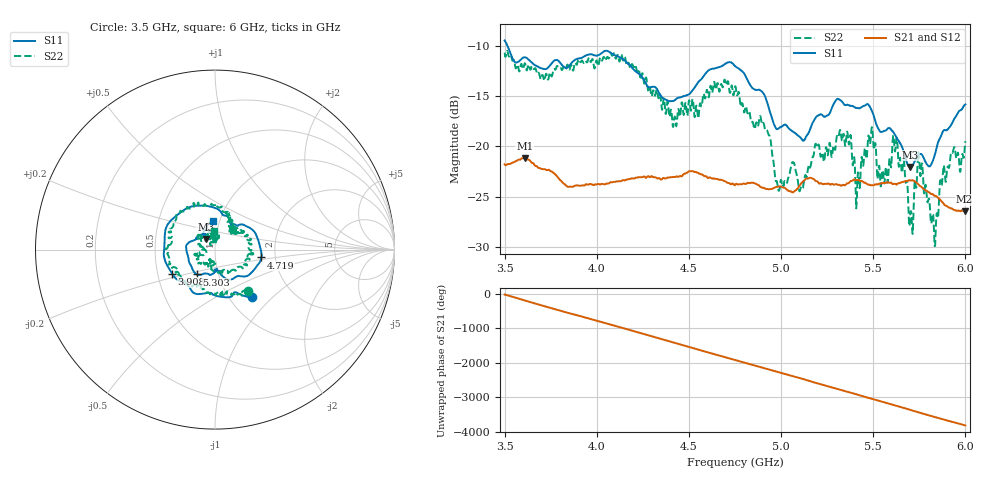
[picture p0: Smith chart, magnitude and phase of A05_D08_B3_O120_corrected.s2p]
! Created with skrf 1.9.0 (http://scikit-rf.org).
# Hz S RI R 50.0
!freq ReS11 ImS11 ReS21 ImS21 ReS12 ImS12 ReS22 ImS22
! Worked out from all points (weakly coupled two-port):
!   1601 points, 3.5 GHz to 6 GHz, reference 50 ohm
!   highest |S21| = -21.15 dB at 3.609 GHz (marker M1); lowest = -26.4 dB at 5.995 GHz (marker M2)
!   lowest |S11| = -22.0 dB at 5.702 GHz (marker M3), VSWR 1.17, Z = 44.7 + j5.37 ohm
!   |S11| at or under -10 dB: 3.515 GHz to end of sweep
!   |S22| runs from -29.9 to -10.5 dB; largest |S21 - S12| = 0.0011
!   S11 on the Smith chart (normalised r, x): 3.5 GHz: 1.27, -0.76; 3.908 GHz: 0.60, -0.17; 4.719 GHz: 1.69, -0.16; 5.303 GHz: 0.79, -0.22; 6 GHz: 0.93, +0.31
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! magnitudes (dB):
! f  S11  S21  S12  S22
! 3.5 GHz  -9.5  -21.8  -21.8  -10.7
! 3.609 GHz  -11.1  -21.2  -21.2  -11.7
! 3.908 GHz  -11.2  -23.9  -23.9  -11.5
! 3.917 GHz  -11.2  -23.9  -23.9  -11.5
! 4.334 GHz  -14.6  -23.2  -23.1  -15.2
! 4.422 GHz  -15.4  -23.0  -23.0  -17.1
! 4.719 GHz  -11.6  -23.6  -23.7  -14.3
! 4.75 GHz  -12.0  -23.8  -23.8  -14.1
! 4.931 GHz  -16.0  -24.3  -24.2  -18.8
! 4.981 GHz  -18.3  -24.0  -24.0  -23.9
! 5.167 GHz  -17.8  -23.2  -23.2  -21.3
! 5.303 GHz  -15.3  -23.8  -23.8  -18.9
! 5.416 GHz  -16.2  -23.3  -23.4  -23.0
! 5.484 GHz  -16.2  -23.8  -23.8  -19.6
! 5.584 GHz  -18.2  -23.6  -23.6  -22.1
! 5.62 GHz  -18.9  -23.7  -23.8  -20.3
! 5.702 GHz  -22.0  -23.4  -23.4  -26.6
! 5.752 GHz  -20.8  -23.9  -23.9  -22.0
! 5.839 GHz  -20.5  -24.9  -24.9  -28.4
! 5.873 GHz  -18.7  -25.5  -25.5  -23.6
! 5.995 GHz  -15.9  -26.4  -26.4  -20.4
! 6 GHz  -15.8  -26.4  -26.4  -19.5
